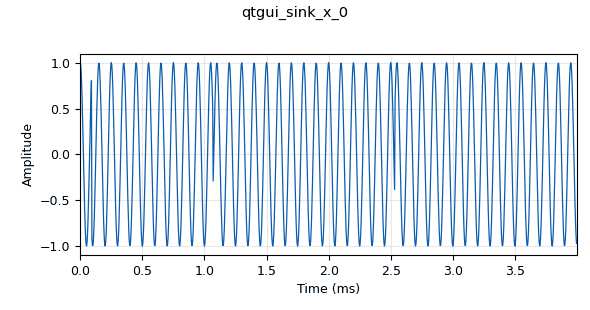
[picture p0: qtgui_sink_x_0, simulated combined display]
options:
  parameters:
    author: jacob
    generate_options: qt_gui
    id: bpsk
    output_language: python
    title: Not titled yet
  states: {}

blocks:
- name: samp_rate
  id: variable
  parameters:
    value: '256000'
  states: {}
- name: sym_rate
  id: variable
  parameters:
    value: '2048'
  states: {}
- name: analog_sig_source_x_0
  id: analog_sig_source_x
  parameters:
    amp: '1'
    freq: '10000'
    offset: '0'
    phase: '0'
    samp_rate: samp_rate
    type: float
    waveform: analog.GR_COS_WAVE
  states: {}
- name: blocks_multiply_xx_0
  id: blocks_multiply_xx
  parameters:
    type: float
  states: {}
- name: blocks_repeat_0
  id: blocks_repeat
  parameters:
    interp: int(samp_rate/sym_rate)
    type: float
  states: {}
- name: digital_glfsr_source_x_0
  id: digital_glfsr_source_x
  parameters:
    degree: '64'
    mask: '0'
    repeat: 'True'
    seed: '1'
    type: float
  states: {}
- name: qtgui_sink_x_0
  id: qtgui_sink_x
  parameters:
    bw: samp_rate
    fc: '0'
    fftsize: '1024'
    plotfreq: 'False'
    plotwaterfall: 'False'
    type: float
  states: {}

connections:
- [analog_sig_source_x_0, '0', blocks_multiply_xx_0, '1']
- [blocks_multiply_xx_0, '0', qtgui_sink_x_0, '0']
- [blocks_repeat_0, '0', blocks_multiply_xx_0, '0']
- [digital_glfsr_source_x_0, '0', blocks_repeat_0, '0']

metadata:
  file_format: 1
